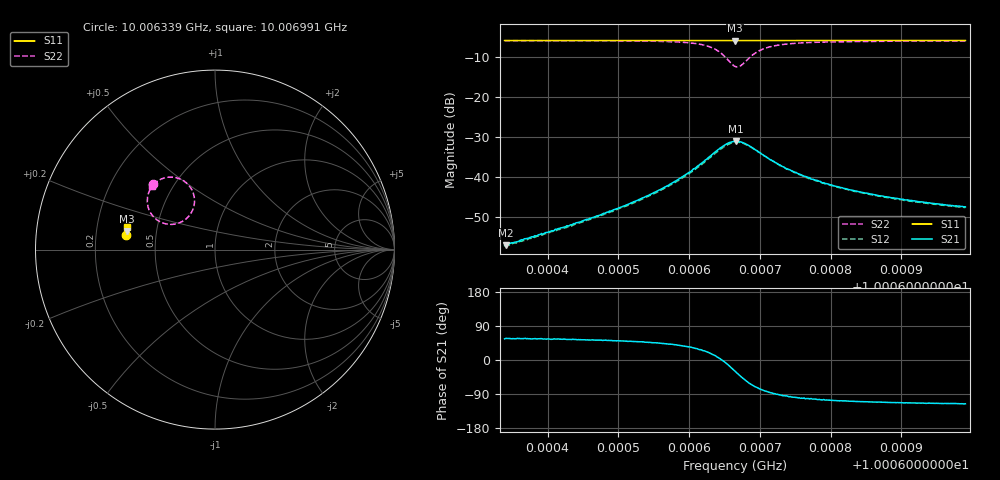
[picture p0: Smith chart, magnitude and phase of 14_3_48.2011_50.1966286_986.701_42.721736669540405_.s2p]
#  HZ  S  RI  R  50.00
! Rohde & Schwarz Vector Network Analyzer
! Rohde-Schwarz,ZNB20-2Port,1311601062101988,3.16
! Created: UTC 3/20/2024, 11:36:41 AM
! freq[Hz]  re:S11  im:S11  re:S21  im:S21  re:S12  im:S12  re:S22  im:S22
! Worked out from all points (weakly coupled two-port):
!   401 points, 10.006339 GHz to 10.006991 GHz, reference 50 ohm
!   highest |S21| = -31.13 dB at 10.006667 GHz (marker M1); lowest = -57.2 dB at 10.006341 GHz (marker M2)
!   lowest |S11| = -6.0 dB at 10.006665 GHz (marker M3), VSWR 3.00, Z = 16.8 + j4.67 ohm
!   |S11| at or under -10 dB: nowhere
!   |S22| runs from -12.6 to -6.0 dB; largest |S21 - S12| = 0.0025
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1.00063393e10  -0.4953 0.084  0.00078 0.00114  0.000678 0.00117  -0.3445 0.3627
1.00063409e10  -0.4952 0.084  0.00075 0.00116  0.000673 0.00117  -0.3442 0.3628
1.00064484e10  -0.4942 0.0913  0.00165 0.00222  0.00149 0.00226  -0.329 0.3758
1.0006507e10  -0.4935 0.0951  0.00272 0.00329  0.0025 0.00331  -0.3138 0.386
1.00065575e10  -0.4926 0.0986  0.00481 0.00477  0.00442 0.00482  -0.2888 0.3972
1.00065966e10  -0.4919 0.1014  0.00875 0.00627  0.00812 0.00643  -0.2475 0.4041
1.00066275e10  -0.4909 0.1034  0.0163 0.0059  0.0154 0.00646  -0.1784 0.3854
1.00066389e10  -0.4902 0.1041  0.0207 0.00327  0.0197 0.00444  -0.1429 0.3544
1.00066503e10  -0.4895 0.1042  0.0248 -0.00224  0.0238 -0.000591  -0.1161 0.2959
1.00066584e10  -0.4893 0.1043  0.0255 -0.0086  0.0252 -0.00622  -0.1183 0.2385
1.00066649e10  -0.4891 0.1041  0.024 -0.0137  0.0243 -0.0112  -0.1402 0.1932
1.00066666e10  -0.4891 0.104  0.0234 -0.0149  0.0238 -0.0127  -0.1485 0.1832
1.00066731e10  -0.4894 0.104  0.0197 -0.0186  0.0208 -0.0165  -0.1894 0.1531
1.00066812e10  -0.4898 0.1042  0.0142 -0.021  0.0156 -0.0195  -0.2458 0.1404
1.00066926e10  -0.4904 0.1048  0.00757 -0.0206  0.00908 -0.02  -0.3085 0.1563
1.00067057e10  -0.4907 0.1057  0.0031 -0.0181  0.00414 -0.0179  -0.3485 0.1897
1.00067203e10  -0.4908 0.1069  0.000379 -0.0154  0.00121 -0.0152  -0.3684 0.2241
1.00067399e10  -0.4907 0.1083  -0.00126 -0.0123  -0.000607 -0.0123  -0.3768 0.2574
1.0006774e10  -0.4905 0.1108  -0.00209 -0.00906  -0.00157 -0.00914  -0.3759 0.2922
1.00068131e10  -0.4902 0.1135  -0.00224 -0.007  -0.00185 -0.00699  -0.3706 0.314
1.00068832e10  -0.4892 0.1182  -0.00206 -0.00513  -0.00176 -0.0051  -0.3616 0.335
1.00069906e10  -0.4878 0.1249  -0.0018 -0.00377  -0.00157 -0.00379  -0.3508 0.3519
